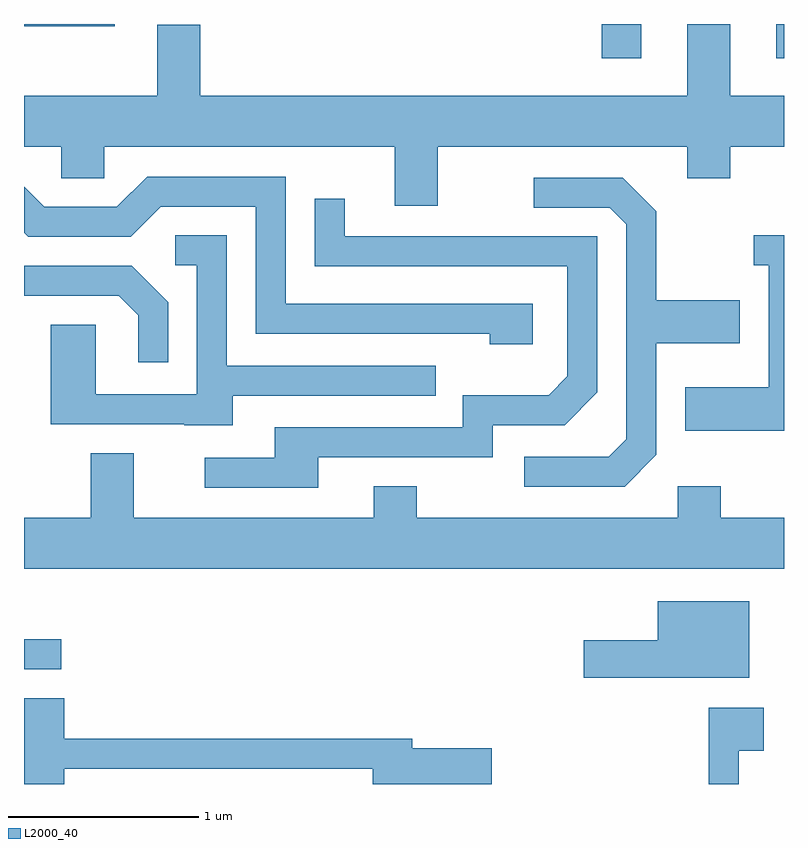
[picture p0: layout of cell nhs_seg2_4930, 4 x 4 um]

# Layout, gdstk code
import gdstk
lib = gdstk.Library(unit=1e-6, precision=1e-09)
def R(c, l, rs):  # rectangles x0, y0, x1, y1
    for r in rs: c.add(gdstk.rectangle(r[:2], r[2:], *l))
def P(c, l, *ps):  # polygons
    for p in ps: c.add(gdstk.Polygon(p, *l))
L2000_40 = (2000, 40)

nhs_seg2_4930 = lib.new_cell('nhs_seg2_4930')
R(nhs_seg2_4930, L2000_40, [(329.611,1094.406,329.808,1094.564), (332.651,1097.621,332.859,1097.802), (333.571,1097.621,333.611,1097.802), (329.611,1097.791,330.088,1097.802)])
P(nhs_seg2_4930, L2000_40, [(331.789,1097.156),(333.101,1097.156),(333.101,1096.991),(333.329,1096.991),(333.329,1097.156),(333.611,1097.156),(333.611,1097.424),(333.329,1097.424),(333.329,1097.802),(333.101,1097.802),(333.101,1097.424),(330.539,1097.424),(330.539,1097.799),(330.311,1097.799),(330.311,1097.424),(329.611,1097.424),(329.611,1097.156),(329.806,1097.156),(329.806,1096.991),(330.034,1096.991),(330.034,1097.156),(331.561,1097.156),(331.561,1096.846),(331.789,1096.846)],
  [(332.289,1096.329),(330.989,1096.329),(330.989,1096.999),(330.259,1096.999),(330.099,1096.839),(329.717,1096.839),(329.611,1096.945),(329.611,1096.704),(329.634,1096.681),(330.172,1096.681),(330.332,1096.841),(330.831,1096.841),(330.831,1096.171),(332.061,1096.171),(332.061,1096.116),(332.289,1096.116)],
  [(332.939,1095.534),(332.939,1096.121),(333.379,1096.121),(333.379,1096.349),(332.939,1096.349),(332.939,1096.817),(332.762,1096.994),(332.293,1096.994),(332.293,1096.836),(332.694,1096.836),(332.781,1096.749),(332.781,1095.617),(332.689,1095.524),(332.243,1095.524),(332.243,1095.366),(332.772,1095.366)],
  [(331.159,1095.521),(332.079,1095.521),(332.079,1095.691),(332.457,1095.691),(332.629,1095.864),(332.629,1096.684),(331.299,1096.684),(331.299,1096.883),(331.141,1096.883),(331.141,1096.526),(332.471,1096.526),(332.471,1095.947),(332.374,1095.849),(331.921,1095.849),(331.921,1095.679),(330.931,1095.679),(330.931,1095.519),(330.563,1095.519),(330.563,1095.361),(331.159,1095.361)],
  [(333.611,1096.689),(333.453,1096.689),(333.453,1096.531),(333.531,1096.531),(333.531,1095.889),(333.091,1095.889),(333.091,1095.661),(333.611,1095.661)],
  [(330.709,1095.846),(331.778,1095.846),(331.778,1096.004),(330.679,1096.004),(330.679,1096.689),(330.408,1096.689),(330.408,1096.531),(330.521,1096.531),(330.521,1095.854),(329.989,1095.854),(329.989,1096.219),(329.751,1096.219),(329.751,1095.696),(330.455,1095.696),(330.455,1095.691),(330.709,1095.691)],
  [(330.369,1096.337),(330.177,1096.529),(329.611,1096.529),(329.611,1096.371),(330.109,1096.371),(330.211,1096.269),(330.211,1096.023),(330.369,1096.023)],
  [(333.611,1095.204),(333.279,1095.204),(333.279,1095.369),(333.051,1095.369),(333.051,1095.204),(331.679,1095.204),(331.679,1095.369),(331.451,1095.369),(331.451,1095.204),(330.189,1095.204),(330.189,1095.544),(329.961,1095.544),(329.961,1095.204),(329.611,1095.204),(329.611,1094.936),(333.611,1094.936)],
  [(333.429,1094.764),(332.946,1094.764),(332.946,1094.559),(332.556,1094.559),(332.556,1094.361),(333.429,1094.361)],
  [(329.824,1093.881),(331.446,1093.881),(331.446,1093.802),(332.074,1093.802),(332.074,1093.989),(331.654,1093.989),(331.654,1094.039),(329.824,1094.039),(329.824,1094.254),(329.611,1094.254),(329.611,1093.802),(329.824,1093.802)],
  [(333.374,1093.976),(333.504,1093.976),(333.504,1094.204),(333.216,1094.204),(333.216,1093.802),(333.374,1093.802)])

lib.write_gds('nhs_seg2_4930.gds')
